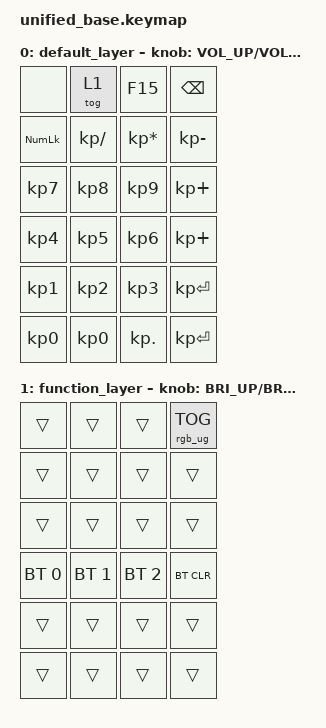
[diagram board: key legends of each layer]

#include <behaviors.dtsi>
#include <dt-bindings/zmk/keys.h>
#include <dt-bindings/zmk/bt.h>
#include <dt-bindings/zmk/rgb.h>

/ {
    keymap {
        compatible = "zmk,keymap";

        default_layer {
            bindings = <
                &none       &tog 1          &kp F15         &kp BSPC
                &kp KP_NUM  &kp KP_SLASH    &kp KP_MULTIPLY &kp KP_MINUS
                &kp KP_N7   &kp KP_N8       &kp KP_N9       &kp KP_PLUS
                &kp KP_N4   &kp KP_N5       &kp KP_N6       &kp KP_PLUS
                &kp KP_N1   &kp KP_N2       &kp KP_N3       &kp KP_ENTER
                &kp KP_N0   &kp KP_N0       &kp KP_DOT      &kp KP_ENTER
            >;
            
            sensor-bindings = <&inc_dec_kp C_VOL_UP C_VOL_DN>;
        };

        function_layer {
            bindings = <
                &trans      &trans          &trans          &rgb_ug RGB_TOG
                &trans      &trans          &trans          &trans
                &trans      &trans          &trans          &trans
                &bt BT_SEL 0 &bt BT_SEL 1   &bt BT_SEL 2    &bt BT_CLR
                &trans      &trans          &trans          &trans
                &trans      &trans          &trans          &trans
            >;
            
            sensor-bindings = <&inc_dec_kp C_BRI_UP C_BRI_DN>;
        };
    };
};
